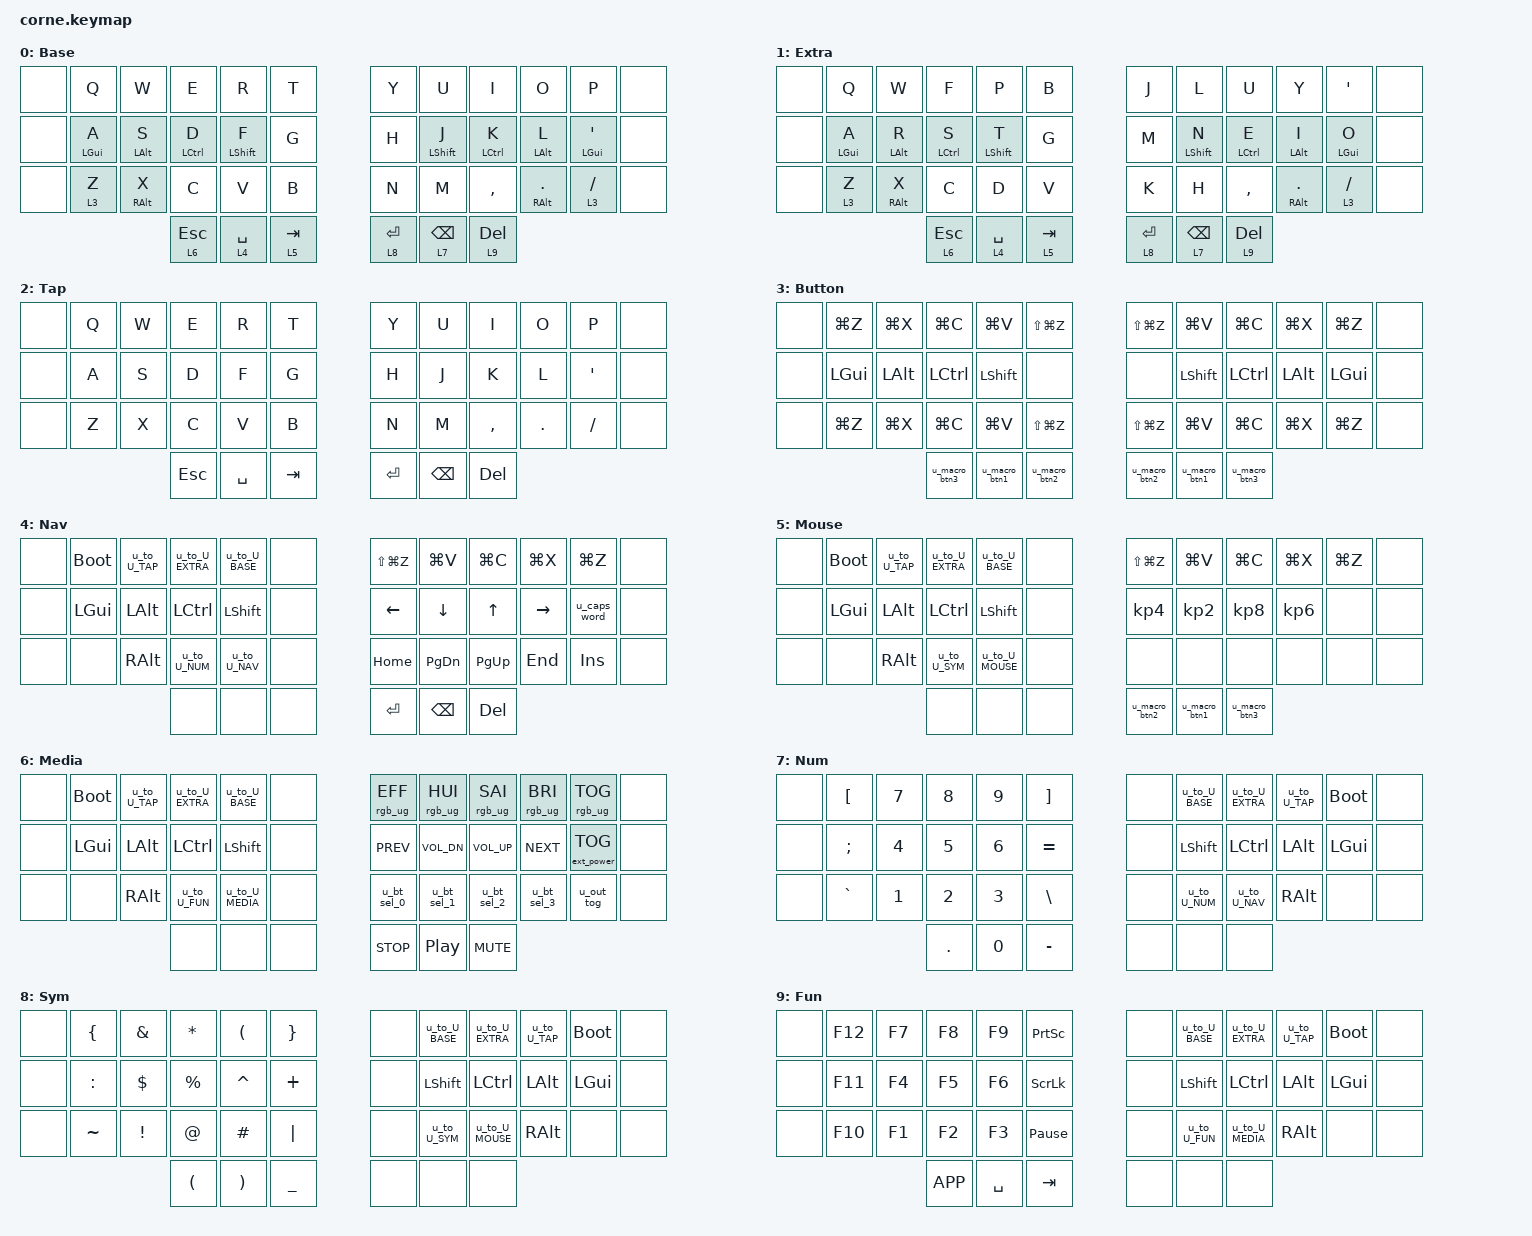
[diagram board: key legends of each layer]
#line 4 "miryoku/miryoku.dtsi"
#include <behaviors.dtsi>
#include <dt-bindings/zmk/keys.h>
#include <dt-bindings/zmk/bt.h>
#include <dt-bindings/zmk/rgb.h>
#include <dt-bindings/zmk/outputs.h>
#include <dt-bindings/zmk/ext_power.h>
#line 13 "miryoku/miryoku.dtsi"
/ {
  keymap {
    compatible = "zmk,keymap";





BASE { label = "Base"; 
  bindings = < 
    &none  &kp Q  &kp W  &kp E  &kp R  &kp T       &kp Y  &kp U  &kp I  &kp O  &kp P  &none 
    &none  &u_mt LGUI A  &u_mt LALT S  &u_mt LCTRL D  &u_mt LSHFT F  &kp G       &kp H  &u_mt LSHFT J  &u_mt LCTRL K  &u_mt LALT L  &u_mt LGUI SQT  &none 
    &none  &u_lt 3 Z  &u_mt RALT X  &kp C  &kp V  &kp B       &kp N  &kp M  &kp COMMA  &u_mt RALT DOT  &u_lt 3 SLASH  &none
    &u_lt 6 ESC  &u_lt 4 SPACE  &u_lt 5 TAB       &u_lt 8 RET  &u_lt 7 BSPC  &u_lt 9 DEL >; }; 
EXTRA { label = "Extra"; 
  bindings = < 
    &none  &kp Q  &kp W  &kp F  &kp P  &kp B       &kp J  &kp L  &kp U  &kp Y  &kp SQT  &none 
    &none  &u_mt LGUI A  &u_mt LALT R  &u_mt LCTRL S  &u_mt LSHFT T  &kp G       &kp M  &u_mt LSHFT N  &u_mt LCTRL E  &u_mt LALT I  &u_mt LGUI O  &none 
    &none  &u_lt 3 Z  &u_mt RALT X  &kp C  &kp D  &kp V       &kp K  &kp H  &kp COMMA  &u_mt RALT DOT  &u_lt 3 SLASH  &none 
    &u_lt 6 ESC  &u_lt 4 SPACE  &u_lt 5 TAB       &u_lt 8 RET  &u_lt 7 BSPC  &u_lt 9 DEL >; }; 
TAP { label = "Tap"; 
  bindings = < 
    &none  &kp Q  &kp W  &kp E  &kp R  &kp T       &kp Y  &kp U  &kp I  &kp O  &kp P  &none 
    &none  &kp A  &kp S  &kp D  &kp F  &kp G       &kp H  &kp J  &kp K  &kp L  &kp SQT  &none 
    &none  &kp Z  &kp X  &kp C  &kp V  &kp B       &kp N  &kp M  &kp COMMA  &kp DOT  &kp SLASH  &none
    &kp ESC  &kp SPACE  &kp TAB       &kp RET  &kp BSPC  &kp DEL >; }; 
BUTTON { label = "Button"; 
  bindings = <
    &none  &kp LG(Z)  &kp LG(X)  &kp LG(C)  &kp LG(V)  &kp LS(LG(Z))       &kp LS(LG(Z))  &kp LG(V)  &kp LG(C)  &kp LG(X)  &kp LG(Z)  &none
    &none  &kp LGUI  &kp LALT  &kp LCTRL  &kp LSHFT  &none       &none  &kp LSHFT  &kp LCTRL  &kp LALT  &kp LGUI  &none 
    &none  &kp LG(Z)  &kp LG(X)  &kp LG(C)  &kp LG(V)  &kp LS(LG(Z))       &kp LS(LG(Z))  &kp LG(V)  &kp LG(C)  &kp LG(X)  &kp LG(Z)  &none
    &u_macro_btn3  &u_macro_btn1  &u_macro_btn2       &u_macro_btn2  &u_macro_btn1  &u_macro_btn3 >; }; 
NAV { label = "Nav"; 
  bindings = < 
    &none  &bootloader  &u_to_U_TAP  &u_to_U_EXTRA  &u_to_U_BASE  &none       &kp LS(LG(Z))  &kp LG(V)  &kp LG(C)  &kp LG(X)  &kp LG(Z)  &none 
    &none  &kp LGUI  &kp LALT  &kp LCTRL  &kp LSHFT  &none       &kp LEFT  &kp DOWN  &kp UP  &kp RIGHT  &u_caps_word  &none
    &none &none  &kp RALT  &u_to_U_NUM  &u_to_U_NAV  &none       &kp HOME  &kp PG_DN  &kp PG_UP  &kp END  &kp INS  &none
    &none  &none  &none       &kp RET  &kp BSPC  &kp DEL >; }; 
MOUSE { label = "Mouse"; 
  bindings = <
    &none  &bootloader  &u_to_U_TAP  &u_to_U_EXTRA  &u_to_U_BASE  &none       &kp LS(LG(Z))  &kp LG(V)  &kp LG(C)  &kp LG(X)  &kp LG(Z)  &none
    &none  &kp LGUI  &kp LALT  &kp LCTRL  &kp LSHFT  &none       &kp KP_N4  &kp KP_N2  &kp KP_N8  &kp KP_N6  &none &none 
    &none  &none  &kp RALT  &u_to_U_SYM  &u_to_U_MOUSE  &none       &none  &none  &none  &none  &none  &none
    &none  &none  &none       &u_macro_btn2  &u_macro_btn1  &u_macro_btn3 >; }; 
MEDIA { label = "Media"; 
  bindings = < 
    &none  &bootloader  &u_to_U_TAP  &u_to_U_EXTRA  &u_to_U_BASE  &none       &rgb_ug RGB_EFF  &rgb_ug RGB_HUI  &rgb_ug RGB_SAI  &rgb_ug RGB_BRI  &rgb_ug RGB_TOG  &none
    &none  &kp LGUI  &kp LALT  &kp LCTRL  &kp LSHFT  &none       &kp C_PREV  &kp C_VOL_DN  &kp C_VOL_UP  &kp C_NEXT  &ext_power EP_TOG  &none
    &none  &none  &kp RALT  &u_to_U_FUN  &u_to_U_MEDIA  &none       &u_bt_sel_0  &u_bt_sel_1  &u_bt_sel_2  &u_bt_sel_3  &u_out_tog  &none
    &none  &none  &none       &kp C_STOP  &kp C_PP  &kp C_MUTE >; }; 
NUM { label = "Num"; 
  bindings = <
    &none  &kp LBKT  &kp N7  &kp N8  &kp N9  &kp RBKT       &none  &u_to_U_BASE  &u_to_U_EXTRA  &u_to_U_TAP  &bootloader  &none
    &none  &kp SEMI  &kp N4  &kp N5  &kp N6  &kp EQUAL       &none  &kp LSHFT  &kp LCTRL  &kp LALT  &kp LGUI  &none
    &none  &kp GRAVE  &kp N1  &kp N2  &kp N3  &kp BSLH       &none  &u_to_U_NUM  &u_to_U_NAV  &kp RALT  &none  &none
    &kp DOT  &kp N0  &kp MINUS       &none  &none  &none >; }; 
SYM { label = "Sym"; 
  bindings = < 
    &none  &kp LBRC  &kp AMPS  &kp ASTRK  &kp LPAR  &kp RBRC       &none  &u_to_U_BASE  &u_to_U_EXTRA  &u_to_U_TAP  &bootloader  &none
    &none  &kp COLON  &kp DLLR  &kp PRCNT  &kp CARET  &kp PLUS       &none  &kp LSHFT  &kp LCTRL  &kp LALT  &kp LGUI  &none
    &none  &kp TILDE  &kp EXCL  &kp AT  &kp HASH  &kp PIPE       &none  &u_to_U_SYM  &u_to_U_MOUSE  &kp RALT  &none  &none
    &kp LPAR  &kp RPAR  &kp UNDER       &none  &none  &none >; }; 
FUN { label = "Fun"; 
  bindings = < 
    &none  &kp F12  &kp F7  &kp F8  &kp F9  &kp PSCRN       &none  &u_to_U_BASE  &u_to_U_EXTRA  &u_to_U_TAP  &bootloader  &none
    &none  &kp F11  &kp F4  &kp F5  &kp F6  &kp SLCK       &none  &kp LSHFT  &kp LCTRL  &kp LALT  &kp LGUI  &none
    &none  &kp F10  &kp F1  &kp F2  &kp F3  &kp PAUSE_BREAK       &none  &u_to_U_FUN  &u_to_U_MEDIA  &kp RALT  &none  &none
    &kp K_APP  &kp SPACE  &kp TAB       &none  &none  &none >; };
  };
};
#line 21 "miryoku/miryoku_shift_functions.dtsi"
/ { macros { u_macro_u_bt_sel_0: u_macro_u_bt_sel_0 { label = "ZM_u_macro_u_bt_sel_0"; compatible = "zmk,behavior-macro"; #binding-cells = <0>; wait-ms = <0>; bindings = <&bt BT_SEL 0 &bt BT_CLR>; }; }; }; / { behaviors { u_bt_sel_0: u_bt_sel_0 { compatible = "zmk,behavior-mod-morph"; label = "u_bt_sel_0"; #binding-cells = <0>; bindings = <&bt BT_SEL 0>, <&u_macro_u_bt_sel_0>; mods = <(MOD_LSFT|MOD_RSFT)>; }; }; };
/ { macros { u_macro_u_bt_sel_1: u_macro_u_bt_sel_1 { label = "ZM_u_macro_u_bt_sel_1"; compatible = "zmk,behavior-macro"; #binding-cells = <0>; wait-ms = <0>; bindings = <&bt BT_SEL 1 &bt BT_CLR>; }; }; }; / { behaviors { u_bt_sel_1: u_bt_sel_1 { compatible = "zmk,behavior-mod-morph"; label = "u_bt_sel_1"; #binding-cells = <0>; bindings = <&bt BT_SEL 1>, <&u_macro_u_bt_sel_1>; mods = <(MOD_LSFT|MOD_RSFT)>; }; }; };
/ { macros { u_macro_u_bt_sel_2: u_macro_u_bt_sel_2 { label = "ZM_u_macro_u_bt_sel_2"; compatible = "zmk,behavior-macro"; #binding-cells = <0>; wait-ms = <0>; bindings = <&bt BT_SEL 2 &bt BT_CLR>; }; }; }; / { behaviors { u_bt_sel_2: u_bt_sel_2 { compatible = "zmk,behavior-mod-morph"; label = "u_bt_sel_2"; #binding-cells = <0>; bindings = <&bt BT_SEL 2>, <&u_macro_u_bt_sel_2>; mods = <(MOD_LSFT|MOD_RSFT)>; }; }; };
/ { macros { u_macro_u_bt_sel_3: u_macro_u_bt_sel_3 { label = "ZM_u_macro_u_bt_sel_3"; compatible = "zmk,behavior-macro"; #binding-cells = <0>; wait-ms = <0>; bindings = <&bt BT_SEL 3 &bt BT_CLR>; }; }; }; / { behaviors { u_bt_sel_3: u_bt_sel_3 { compatible = "zmk,behavior-mod-morph"; label = "u_bt_sel_3"; #binding-cells = <0>; bindings = <&bt BT_SEL 3>, <&u_macro_u_bt_sel_3>; mods = <(MOD_LSFT|MOD_RSFT)>; }; }; };
/ { macros { u_macro_u_bt_sel_4: u_macro_u_bt_sel_4 { label = "ZM_u_macro_u_bt_sel_4"; compatible = "zmk,behavior-macro"; #binding-cells = <0>; wait-ms = <0>; bindings = <&bt BT_SEL 4 &bt BT_CLR>; }; }; }; / { behaviors { u_bt_sel_4: u_bt_sel_4 { compatible = "zmk,behavior-mod-morph"; label = "u_bt_sel_4"; #binding-cells = <0>; bindings = <&bt BT_SEL 4>, <&u_macro_u_bt_sel_4>; mods = <(MOD_LSFT|MOD_RSFT)>; }; }; };

/ { behaviors { u_out_tog: u_out_tog { compatible = "zmk,behavior-mod-morph"; label = "u_out_tog"; #binding-cells = <0>; bindings = <&out OUT_TOG>, <&out OUT_USB>; mods = <(MOD_LSFT|MOD_RSFT)>; }; }; };

/ { behaviors { u_caps_word: u_caps_word { compatible = "zmk,behavior-mod-morph"; label = "u_caps_word"; #binding-cells = <0>; bindings = <&caps_word>, <&kp CAPS>; mods = <(MOD_LSFT|MOD_RSFT)>; }; }; };
#line 19 "miryoku/miryoku_double_tap_guard.dtsi"
/ { behaviors { u_to_U_BASE: u_to_U_BASE { compatible = "zmk,behavior-tap-dance"; label = "u_to_U_BASE"; #binding-cells = <0>; tapping-term-ms = <200>; bindings = <&none>, <&to 0>; }; }; }; / { behaviors { u_to_U_EXTRA: u_to_U_EXTRA { compatible = "zmk,behavior-tap-dance"; label = "u_to_U_EXTRA"; #binding-cells = <0>; tapping-term-ms = <200>; bindings = <&none>, <&to 1>; }; }; }; / { behaviors { u_to_U_TAP: u_to_U_TAP { compatible = "zmk,behavior-tap-dance"; label = "u_to_U_TAP"; #binding-cells = <0>; tapping-term-ms = <200>; bindings = <&none>, <&to 2>; }; }; }; / { behaviors { u_to_U_BUTTON: u_to_U_BUTTON { compatible = "zmk,behavior-tap-dance"; label = "u_to_U_BUTTON"; #binding-cells = <0>; tapping-term-ms = <200>; bindings = <&none>, <&to 3>; }; }; }; / { behaviors { u_to_U_NAV: u_to_U_NAV { compatible = "zmk,behavior-tap-dance"; label = "u_to_U_NAV"; #binding-cells = <0>; tapping-term-ms = <200>; bindings = <&none>, <&to 4>; }; }; }; / { behaviors { u_to_U_MOUSE: u_to_U_MOUSE { compatible = "zmk,behavior-tap-dance"; label = "u_to_U_MOUSE"; #binding-cells = <0>; tapping-term-ms = <200>; bindings = <&none>, <&to 5>; }; }; }; / { behaviors { u_to_U_MEDIA: u_to_U_MEDIA { compatible = "zmk,behavior-tap-dance"; label = "u_to_U_MEDIA"; #binding-cells = <0>; tapping-term-ms = <200>; bindings = <&none>, <&to 6>; }; }; }; / { behaviors { u_to_U_NUM: u_to_U_NUM { compatible = "zmk,behavior-tap-dance"; label = "u_to_U_NUM"; #binding-cells = <0>; tapping-term-ms = <200>; bindings = <&none>, <&to 7>; }; }; }; / { behaviors { u_to_U_SYM: u_to_U_SYM { compatible = "zmk,behavior-tap-dance"; label = "u_to_U_SYM"; #binding-cells = <0>; tapping-term-ms = <200>; bindings = <&none>, <&to 8>; }; }; }; / { behaviors { u_to_U_FUN: u_to_U_FUN { compatible = "zmk,behavior-tap-dance"; label = "u_to_U_FUN"; #binding-cells = <0>; tapping-term-ms = <200>; bindings = <&none>, <&to 9>; }; }; };
#line 4 "miryoku/miryoku_mousekeys.dtsi"
/ { macros { u_macro_btn1: u_macro_btn1 { label = "ZM_u_macro_btn1"; compatible = "zmk,behavior-macro"; #binding-cells = <0>; wait-ms = <0>; bindings = <&kp KP_SLASH &kp KP_N5>; }; }; };
/ { macros { u_macro_btn2: u_macro_btn2 { label = "ZM_u_macro_btn2"; compatible = "zmk,behavior-macro"; #binding-cells = <0>; wait-ms = <0>; bindings = <&kp KP_MINUS &kp KP_N5>; }; }; };
/ { macros { u_macro_btn3: u_macro_btn3 { label = "ZM_u_macro_btn3"; compatible = "zmk,behavior-macro"; #binding-cells = <0>; wait-ms = <0>; bindings = <&kp KP_ASTERISK &kp KP_N5>; }; }; };
#line 4 "miryoku/miryoku_behaviors.dtsi"
/ {
  behaviors {
    u_mt: u_mt {
      compatible = "zmk,behavior-hold-tap";
      label = "u_mt";
      #binding-cells = <2>;
      tapping_term_ms = <200>;
      flavor = "tap-preferred";
      bindings = <&kp>, <&kp>;
    };
    u_lt: u_lt {
      compatible = "zmk,behavior-hold-tap";
      label = "u_lt";
      #binding-cells = <2>;
      tapping_term_ms = <200>;
      flavor = "tap-preferred";
      bindings = <&mo>, <&kp>;
    };
  };
};
